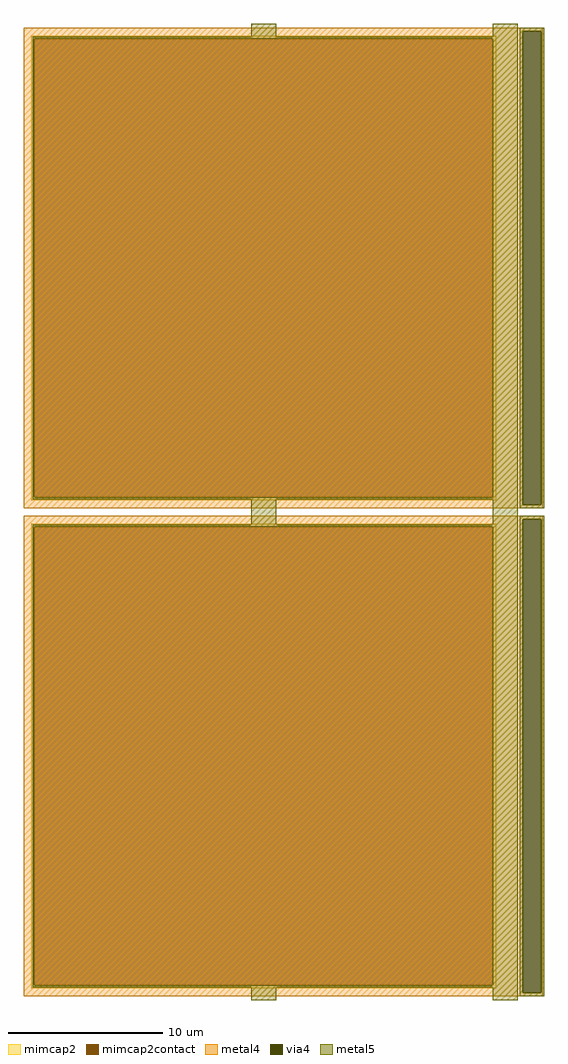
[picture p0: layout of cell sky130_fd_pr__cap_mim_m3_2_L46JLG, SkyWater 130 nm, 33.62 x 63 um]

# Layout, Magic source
magic
tech sky130A
magscale 1 2
<< metal4 >>
rect -3351 6209 3351 6250
rect -3351 91 3095 6209
rect 3331 91 3351 6209
rect -3351 50 3351 91
rect -3351 -91 3351 -50
rect -3351 -6209 3095 -91
rect 3331 -6209 3351 -91
rect -3351 -6250 3351 -6209
<< via4 >>
rect 3095 91 3331 6209
rect 3095 -6209 3331 -91
<< mimcap2 >>
rect -3251 6110 2749 6150
rect -3251 190 -3211 6110
rect 2709 190 2749 6110
rect -3251 150 2749 190
rect -3251 -190 2749 -150
rect -3251 -6110 -3211 -190
rect 2709 -6110 2749 -190
rect -3251 -6150 2749 -6110
<< mimcap2contact >>
rect -3211 190 2709 6110
rect -3211 -6110 2709 -190
<< metal5 >>
rect -411 6134 -91 6300
rect 2709 6134 3029 6300
rect -3235 6110 3029 6134
rect -3235 190 -3211 6110
rect 2709 190 3029 6110
rect -3235 166 3029 190
rect -411 -166 -91 166
rect 2709 -166 3029 166
rect 3053 6209 3373 6251
rect 3053 91 3095 6209
rect 3331 91 3373 6209
rect 3053 49 3373 91
rect -3235 -190 3029 -166
rect -3235 -6110 -3211 -190
rect 2709 -6110 3029 -190
rect -3235 -6134 3029 -6110
rect -411 -6300 -91 -6134
rect 2709 -6300 3029 -6134
rect 3053 -91 3373 -49
rect 3053 -6209 3095 -91
rect 3331 -6209 3373 -91
rect 3053 -6251 3373 -6209
<< properties >>
string FIXED_BBOX -3351 50 2849 6250
string gencell sky130_fd_pr__cap_mim_m3_2
string library sky130
string parameters w 30 l 30 val 1.822k carea 2.00 cperi 0.19 nx 1 ny 2 dummy 0 square 0 lmin 2.00 wmin 2.00 lmax 30.0 wmax 30.0 dc 0 bconnect 1 tconnect 1 ccov 100
<< end >>
